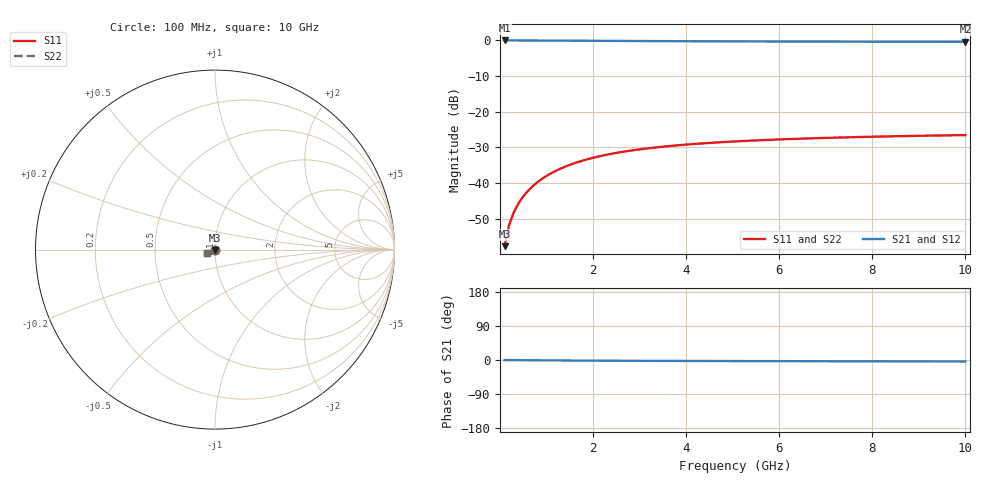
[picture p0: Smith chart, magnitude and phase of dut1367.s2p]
! Touchstone file exported from HFSS 2024.1.0
!  File:  C:/UserFiles/LocalFiles/RDL_TSV_Batchsim/temp_TSV1_1367_1780378799.aedt
!  Generated:  01:45:41 PM Jun  2, 2026
!  Design:  TSV1
!  Project:  temp_TSV1_1367_1780378799
!  Setup:  Setup1
!  Solution:  Sweep
! Variables:
!  dtsv = 14.42um
!  hbump = 3um
!  htsv = 56.43um
!  lrdl = 252.1521522um
!  p = 40
!  p1 = 46.15um
!  t = 500um
!  trdl = 3um
!  wrdl = 24.89489489um
# GHz S MA R 50.000000
! Terminal data exported
! Port[1] = TSV22_T1
! Port[2] = TSV22_T2
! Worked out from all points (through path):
!   100 points, 100 MHz to 10 GHz, reference 50 ohm
!   highest |S21| = 0.00 dB at 100 MHz (marker M1); lowest = -0.4 dB at 10 GHz (marker M2)
!   lowest |S11| = -57.7 dB at 100 MHz (marker M3), VSWR 1.00, Z = 50 - j0.131 ohm
!   |S11| at or under -10 dB: start of sweep to end of sweep
!   |S22| runs from -57.7 to -26.5 dB; largest |S21 - S12| = 6.4e-15
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0.1  0.001307 -88.5  0.9999 -0.1  0.9999 -0.1  0.001307 -88.5
! Gamma 0 0 0 0
! Port Impedance 50 0 50 0
0.2  0.002626 -91.7  0.9998 -0.2  0.9998 -0.2  0.002626 -91.7
0.3  0.003935 -93.8  0.9996 -0.3  0.9996 -0.3  0.003935 -93.8
0.4  0.005232 -95.7  0.9993 -0.4  0.9993 -0.4  0.005232 -95.7
0.5  0.006515 -97.4  0.999 -0.5  0.999 -0.5  0.006515 -97.4
0.6  0.007781 -99.1  0.9986 -0.6  0.9986 -0.6  0.007781 -99.1
0.7  0.009027 -100.7  0.9981 -0.7  0.9981 -0.7  0.009027 -100.7
0.8  0.01025 -102.3  0.9976 -0.8  0.9976 -0.8  0.01025 -102.3
0.9  0.01145 -103.8  0.997 -0.9  0.997 -0.9  0.01145 -103.8
1.1  0.01376 -106.8  0.9958 -1.1  0.9958 -1.1  0.01376 -106.8
1.4  0.01701 -111.0  0.9936 -1.3  0.9936 -1.3  0.01701 -111.0
1.6  0.01902 -113.6  0.9921 -1.5  0.9921 -1.5  0.01902 -113.6
1.8  0.0209 -116.1  0.9906 -1.6  0.9906 -1.6  0.0209 -116.1
2.1  0.02348 -119.6  0.9882 -1.8  0.9882 -1.8  0.02348 -119.6
2.5  0.02652 -123.7  0.9851 -2.0  0.9851 -2.0  0.02652 -123.7
2.9  0.02914 -127.4  0.9822 -2.2  0.9822 -2.2  0.02914 -127.4
3.4  0.03192 -131.3  0.9789 -2.3  0.9789 -2.3  0.03192 -131.3
4.2  0.03548 -136.6  0.9742 -2.6  0.9742 -2.6  0.03548 -136.6
5.1  0.03855 -141.2  0.9699 -2.8  0.9699 -2.8  0.03855 -141.2
6.7  0.04246 -147.4  0.9641 -3.2  0.9641 -3.2  0.04246 -147.4
8.4  0.04527 -152.1  0.9598 -3.6  0.9598 -3.6  0.04527 -152.1
10  0.04713 -155.6  0.9569 -3.9  0.9569 -3.9  0.04713 -155.6
